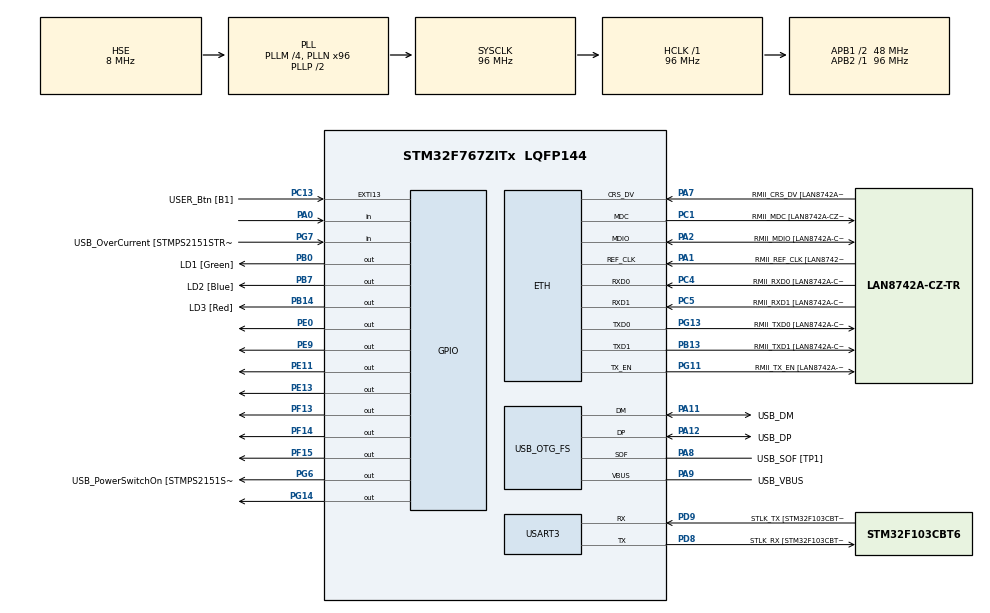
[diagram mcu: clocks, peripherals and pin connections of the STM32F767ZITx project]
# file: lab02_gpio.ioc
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ETH.MediaInterface=HAL_ETH_RMII_MODE
ETH.PHY_Name=LAN8742A_PHY_ADDRESS
ETH.PHY_Value=0
ETH.PhyAddress=0
Mcu.Family=STM32F7
Mcu.Name=STM32F767ZITx
Mcu.Package=LQFP144
NVIC.PriorityGroup=NVIC_PRIORITYGROUP_4
PA0/WKUP.Signal=GPIO_Input
PA1.GPIO_Label=RMII_REF_CLK [LAN8742A-CZ-TR_REFCLK0]
PA1.Mode=RMII
PA1.Signal=ETH_REF_CLK
PA10.GPIO_Label=USB_ID
PA10.Signal=USB_OTG_FS_ID
PA11.GPIO_Label=USB_DM
PA11.Mode=Device_Only
PA11.Signal=USB_OTG_FS_DM
PA12.GPIO_Label=USB_DP
PA12.Mode=Device_Only
PA12.Signal=USB_OTG_FS_DP
PA13.GPIO_Label=TMS
PA13.Mode=Serial_Wire
PA13.Signal=SYS_JTMS-SWDIO
PA14.GPIO_Label=TCK
PA14.Mode=Serial_Wire
PA14.Signal=SYS_JTCK-SWCLK
PA2.GPIO_Label=RMII_MDIO [LAN8742A-CZ-TR_MDIO]
PA2.Mode=RMII
PA2.Signal=ETH_MDIO
PA7.GPIO_Label=RMII_CRS_DV [LAN8742A-CZ-TR_CRS_DV]
PA7.Mode=RMII
PA7.Signal=ETH_CRS_DV
PA8.GPIO_Label=USB_SOF [TP1]
PA8.Mode=Activate_SOF_FS
PA8.Signal=USB_OTG_FS_SOF
PA9.GPIO_Label=USB_VBUS
PA9.Mode=Activate_VBUS
PA9.Signal=USB_OTG_FS_VBUS
PB0.GPIO_Label=LD1 [Green]
PB0.Signal=GPIO_Output
PB13.GPIO_Label=RMII_TXD1 [LAN8742A-CZ-TR_TXD1]
PB13.Mode=RMII
PB13.Signal=ETH_TXD1
PB14.GPIO_Label=LD3 [Red]
PB14.Signal=GPIO_Output
PB3.GPIO_Label=SWO
PB3.Signal=SYS_JTDO-SWO
PB7.GPIO_Label=LD2 [Blue]
PB7.Signal=GPIO_Output
PC1.GPIO_Label=RMII_MDC [LAN8742A-CZ-TR_MDC]
PC1.Mode=RMII
PC1.Signal=ETH_MDC
PC13.GPIO_Label=USER_Btn [B1]
PC13.Signal=GPXTI13
PC14/OSC32_IN.Mode=LSE-External-Oscillator
PC14/OSC32_IN.Signal=RCC_OSC32_IN
PC15/OSC32_OUT.Mode=LSE-External-Oscillator
PC15/OSC32_OUT.Signal=RCC_OSC32_OUT
PC4.GPIO_Label=RMII_RXD0 [LAN8742A-CZ-TR_RXD0]
PC4.Mode=RMII
PC4.Signal=ETH_RXD0
PC5.GPIO_Label=RMII_RXD1 [LAN8742A-CZ-TR_RXD1]
PC5.Mode=RMII
PC5.Signal=ETH_RXD1
PD8.GPIO_Label=STLK_RX [STM32F103CBT6_PA3]
PD8.Mode=Asynchronous
PD8.Signal=USART3_TX
PD9.GPIO_Label=STLK_TX [STM32F103CBT6_PA2]
PD9.Mode=Asynchronous
PD9.Signal=USART3_RX
PE0.Signal=GPIO_Output
PE11.Signal=GPIO_Output
PE13.Signal=GPIO_Output
PE9.Signal=GPIO_Output
PF13.Signal=GPIO_Output
PF14.Signal=GPIO_Output
PF15.Signal=GPIO_Output
PG11.GPIO_Label=RMII_TX_EN [LAN8742A-CZ-TR_TXEN]
PG11.Mode=RMII
PG11.Signal=ETH_TX_EN
PG13.GPIO_Label=RMII_TXD0 [LAN8742A-CZ-TR_TXD0]
PG13.Mode=RMII
PG13.Signal=ETH_TXD0
PG14.Signal=GPIO_Output
PG6.GPIO_Label=USB_PowerSwitchOn [STMPS2151STR_EN]
PG6.Signal=GPIO_Output
PG7.GPIO_Label=USB_OverCurrent [STMPS2151STR_FAULT]
PG7.Signal=GPIO_Input
PH0/OSC_IN.GPIO_Label=MCO [STM32F103CBT6_PA8]
PH0/OSC_IN.Mode=HSE-External-Clock-Source
PH0/OSC_IN.Signal=RCC_OSC_IN
PH1/OSC_OUT.Mode=HSE-External-Clock-Source
PH1/OSC_OUT.Signal=RCC_OSC_OUT
ProjectManager.HeapSize=0x200
ProjectManager.StackSize=0x400
ProjectManager.TargetToolchain=STM32CubeIDE
RCC.48MHZClocksFreq_Value=24000000
RCC.AHBFreq_Value=96000000
RCC.APB1CLKDivider=RCC_HCLK_DIV2
RCC.APB1Freq_Value=48000000
RCC.APB1TimFreq_Value=96000000
RCC.APB2Freq_Value=96000000
RCC.APB2TimFreq_Value=96000000
RCC.CortexFreq_Value=96000000
RCC.HCLKFreq_Value=96000000
RCC.HSE_VALUE=8000000
RCC.HSI_VALUE=16000000
RCC.PLLM=4
RCC.PLLMUL=RCC_PLL_MUL9
RCC.PLLN=96
RCC.PLLQ=4
RCC.PRESCALERUSB=RCC_USBCLKSOURCE_PLL_DIV1_5
RCC.SYSCLKFreq_VALUE=96000000
RCC.SYSCLKSource=RCC_SYSCLKSOURCE_PLLCLK
RCC.SYSCLKSourceVirtual=RCC_SYSCLKSOURCE_PLLCLK
RCC.USBFreq_Value=48000000
RCC.VCOOutputFreq_Value=192000000
USART3.VirtualMode-Asynchronous=VM_ASYNC
USB_OTG_FS.VirtualMode=Device_Only
board=NUCLEO-F767ZI

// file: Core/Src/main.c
/* USER CODE BEGIN Header */
/**
 ******************************************************************************
 * @file           : main.c
 * @brief          : Main program body
 ******************************************************************************
 * @attention
 *
 * Copyright (c) 2023 STMicroelectronics.
 * All rights reserved.
 *
 * This software is licensed under terms that can be found in the LICENSE file
 * in the root directory of this software component.
 * If no LICENSE file comes with this software, it is provided AS-IS.
 *
 ******************************************************************************
 */
/* USER CODE END Header */
#include "main.h"
#include "string.h"

#if defined ( __ICCARM__ ) /*!< IAR Compiler */
#pragma location=0x2007c000
ETH_DMADescTypeDef  DMARxDscrTab[ETH_RX_DESC_CNT]; /* Ethernet Rx DMA Descriptors */
#pragma location=0x2007c0a0
ETH_DMADescTypeDef  DMATxDscrTab[ETH_TX_DESC_CNT]; /* Ethernet Tx DMA Descriptors */

#elif defined ( __CC_ARM )  /* MDK ARM Compiler */

__attribute__((at(0x2007c000))) ETH_DMADescTypeDef  DMARxDscrTab[ETH_RX_DESC_CNT]; /* Ethernet Rx DMA Descriptors */
__attribute__((at(0x2007c0a0))) ETH_DMADescTypeDef  DMATxDscrTab[ETH_TX_DESC_CNT]; /* Ethernet Tx DMA Descriptors */

#elif defined ( __GNUC__ ) /* GNU Compiler */
ETH_DMADescTypeDef DMARxDscrTab[ETH_RX_DESC_CNT] __attribute__((section(".RxDecripSection"))); /* Ethernet Rx DMA Descriptors */
ETH_DMADescTypeDef DMATxDscrTab[ETH_TX_DESC_CNT] __attribute__((section(".TxDecripSection"))); /* Ethernet Tx DMA Descriptors */

#endif

ETH_TxPacketConfig TxConfig;

ETH_HandleTypeDef heth;

UART_HandleTypeDef huart3;

PCD_HandleTypeDef hpcd_USB_OTG_FS;

/* USER CODE BEGIN PV */
int count = 0;
/* USER CODE END PV */

void SystemClock_Config(void);
static void MX_GPIO_Init(void);
static void MX_ETH_Init(void);
static void MX_USART3_UART_Init(void);
static void MX_USB_OTG_FS_PCD_Init(void);

int main(void) {

	/* MCU Configuration--------------------------------------------------------*/

	/* Reset of all peripherals, Initializes the Flash interface and the Systick. */
	HAL_Init();

	/* Configure the system clock */
	SystemClock_Config();

	/* Initialize all configured peripherals */
	MX_GPIO_Init();
	MX_ETH_Init();
	MX_USART3_UART_Init();
	MX_USB_OTG_FS_PCD_Init();

	/* Infinite loop */
	while (1) {

		/* USER CODE BEGIN 3 */
//	  if (HAL_GPIO_ReadPin(GPIOC, GPIO_PIN_13) == GPIO_PIN_SET){
//		  HAL_GPIO_WritePin(GPIOB, GPIO_PIN_0, GPIO_PIN_SET);
//		  HAL_Delay(1000);
//		  HAL_GPIO_WritePin(GPIOB, GPIO_PIN_0, GPIO_PIN_RESET);
//	  }
//	  if (HAL_GPIO_ReadPin(GPIOA, GPIO_PIN_0) == GPIO_PIN_RESET){
//		  HAL_GPIO_WritePin(GPIOE, GPIO_PIN_0, GPIO_PIN_SET);
//		  HAL_Delay(1000);
//		  HAL_GPIO_WritePin(GPIOE, GPIO_PIN_0, GPIO_PIN_RESET);
//	  }
		if (HAL_GPIO_ReadPin(GPIOC, GPIO_PIN_13) == GPIO_PIN_SET) {
			HAL_Delay(500);
			HAL_GPIO_WritePin(GPIOF, GPIO_PIN_13, GPIO_PIN_RESET);
			HAL_GPIO_WritePin(GPIOE, GPIO_PIN_0, GPIO_PIN_RESET);
			HAL_GPIO_WritePin(GPIOG, GPIO_PIN_14, GPIO_PIN_RESET);
			HAL_GPIO_WritePin(GPIOF, GPIO_PIN_15, GPIO_PIN_RESET);
			HAL_GPIO_WritePin(GPIOE, GPIO_PIN_13, GPIO_PIN_RESET);
			HAL_GPIO_WritePin(GPIOF, GPIO_PIN_14, GPIO_PIN_RESET);
			HAL_GPIO_WritePin(GPIOE, GPIO_PIN_11, GPIO_PIN_RESET);
			HAL_GPIO_WritePin(GPIOE, GPIO_PIN_9, GPIO_PIN_RESET);
			count++;
			if (count == 8) {
				count = 0;
			}
		}
		if (count == 0) {
			HAL_GPIO_WritePin(GPIOE, GPIO_PIN_0, GPIO_PIN_SET);
		} else if (count == 1) {
			HAL_GPIO_WritePin(GPIOG, GPIO_PIN_14, GPIO_PIN_SET);
		} else if (count == 2) {
			HAL_GPIO_WritePin(GPIOF, GPIO_PIN_15, GPIO_PIN_SET);
		} else if (count == 3) {
			HAL_GPIO_WritePin(GPIOE, GPIO_PIN_13, GPIO_PIN_SET);
		} else if (count == 4) {
			HAL_GPIO_WritePin(GPIOF, GPIO_PIN_14, GPIO_PIN_SET);
		} else if (count == 5) {
			HAL_GPIO_WritePin(GPIOE, GPIO_PIN_11, GPIO_PIN_SET);
		} else if (count == 6) {
			HAL_GPIO_WritePin(GPIOE, GPIO_PIN_9, GPIO_PIN_SET);
		} else if (count == 7) {
			HAL_GPIO_WritePin(GPIOF, GPIO_PIN_13, GPIO_PIN_SET);
		}
		if (HAL_GPIO_ReadPin(GPIOA, GPIO_PIN_0) == GPIO_PIN_RESET) {
			HAL_GPIO_WritePin(GPIOE, GPIO_PIN_0, GPIO_PIN_SET);
			HAL_Delay(500);
			HAL_GPIO_WritePin(GPIOE, GPIO_PIN_0, GPIO_PIN_RESET);
			HAL_GPIO_WritePin(GPIOG, GPIO_PIN_14, GPIO_PIN_SET);
			HAL_Delay(500);
			HAL_GPIO_WritePin(GPIOG, GPIO_PIN_14, GPIO_PIN_RESET);
			HAL_GPIO_WritePin(GPIOF, GPIO_PIN_15, GPIO_PIN_SET);
			HAL_Delay(500);
			HAL_GPIO_WritePin(GPIOF, GPIO_PIN_15, GPIO_PIN_RESET);
			HAL_GPIO_WritePin(GPIOE, GPIO_PIN_13, GPIO_PIN_SET);
			HAL_Delay(500);
			HAL_GPIO_WritePin(GPIOE, GPIO_PIN_13, GPIO_PIN_RESET);
			HAL_GPIO_WritePin(GPIOF, GPIO_PIN_14, GPIO_PIN_SET);
			HAL_Delay(500);
			HAL_GPIO_WritePin(GPIOF, GPIO_PIN_14, GPIO_PIN_RESET);
			HAL_GPIO_WritePin(GPIOE, GPIO_PIN_11, GPIO_PIN_SET);
			HAL_Delay(500);
			HAL_GPIO_WritePin(GPIOE, GPIO_PIN_11, GPIO_PIN_RESET);
			HAL_GPIO_WritePin(GPIOE, GPIO_PIN_9, GPIO_PIN_SET);
			HAL_Delay(500);
			HAL_GPIO_WritePin(GPIOE, GPIO_PIN_9, GPIO_PIN_RESET);
			HAL_GPIO_WritePin(GPIOF, GPIO_PIN_13, GPIO_PIN_SET);
			HAL_Delay(500);
			HAL_GPIO_WritePin(GPIOF, GPIO_PIN_13, GPIO_PIN_RESET);
		}
	}
	/* USER CODE END 3 */
}

void SystemClock_Config(void) {
	RCC_OscInitTypeDef RCC_OscInitStruct = { 0 };
	RCC_ClkInitTypeDef RCC_ClkInitStruct = { 0 };

	/** Configure LSE Drive Capability
	 */
	HAL_PWR_EnableBkUpAccess();

	/** Configure the main internal regulator output voltage
	 */
	__HAL_RCC_PWR_CLK_ENABLE();
	__HAL_PWR_VOLTAGESCALING_CONFIG(PWR_REGULATOR_VOLTAGE_SCALE3);

	/** Initializes the RCC Oscillators according to the specified parameters
	 * in the RCC_OscInitTypeDef structure.
	 */
	RCC_OscInitStruct.OscillatorType = RCC_OSCILLATORTYPE_HSE;
	RCC_OscInitStruct.HSEState = RCC_HSE_BYPASS;
	RCC_OscInitStruct.PLL.PLLState = RCC_PLL_ON;
	RCC_OscInitStruct.PLL.PLLSource = RCC_PLLSOURCE_HSE;
	RCC_OscInitStruct.PLL.PLLM = 4;
	RCC_OscInitStruct.PLL.PLLN = 96;
	RCC_OscInitStruct.PLL.PLLP = RCC_PLLP_DIV2;
	RCC_OscInitStruct.PLL.PLLQ = 4;
	RCC_OscInitStruct.PLL.PLLR = 2;
	if (HAL_RCC_OscConfig(&RCC_OscInitStruct) != HAL_OK) {
		Error_Handler();
	}

	/** Activate the Over-Drive mode
	 */
	if (HAL_PWREx_EnableOverDrive() != HAL_OK) {
		Error_Handler();
	}

	/** Initializes the CPU, AHB and APB buses clocks
	 */
	RCC_ClkInitStruct.ClockType = RCC_CLOCKTYPE_HCLK | RCC_CLOCKTYPE_SYSCLK
			| RCC_CLOCKTYPE_PCLK1 | RCC_CLOCKTYPE_PCLK2;
	RCC_ClkInitStruct.SYSCLKSource = RCC_SYSCLKSOURCE_PLLCLK;
	RCC_ClkInitStruct.AHBCLKDivider = RCC_SYSCLK_DIV1;
	RCC_ClkInitStruct.APB1CLKDivider = RCC_HCLK_DIV2;
	RCC_ClkInitStruct.APB2CLKDivider = RCC_HCLK_DIV1;

	if (HAL_RCC_ClockConfig(&RCC_ClkInitStruct, FLASH_LATENCY_3) != HAL_OK) {
		Error_Handler();
	}
}

static void MX_ETH_Init(void) {

	static uint8_t MACAddr[6];

	heth.Instance = ETH;
	MACAddr[0] = 0x00;
	MACAddr[1] = 0x80;
	MACAddr[2] = 0xE1;
	MACAddr[3] = 0x00;
	MACAddr[4] = 0x00;
	MACAddr[5] = 0x00;
	heth.Init.MACAddr = &MACAddr[0];
	heth.Init.MediaInterface = HAL_ETH_RMII_MODE;
	heth.Init.TxDesc = DMATxDscrTab;
	heth.Init.RxDesc = DMARxDscrTab;
	heth.Init.RxBuffLen = 1524;

	if (HAL_ETH_Init(&heth) != HAL_OK) {
		Error_Handler();
	}

	memset(&TxConfig, 0, sizeof(ETH_TxPacketConfig));
	TxConfig.Attributes = ETH_TX_PACKETS_FEATURES_CSUM
			| ETH_TX_PACKETS_FEATURES_CRCPAD;
	TxConfig.ChecksumCtrl = ETH_CHECKSUM_IPHDR_PAYLOAD_INSERT_PHDR_CALC;
	TxConfig.CRCPadCtrl = ETH_CRC_PAD_INSERT;

}

static void MX_USART3_UART_Init(void) {

	huart3.Instance = USART3;
	huart3.Init.BaudRate = 115200;
	huart3.Init.WordLength = UART_WORDLENGTH_8B;
	huart3.Init.StopBits = UART_STOPBITS_1;
	huart3.Init.Parity = UART_PARITY_NONE;
	huart3.Init.Mode = UART_MODE_TX_RX;
	huart3.Init.HwFlowCtl = UART_HWCONTROL_NONE;
	huart3.Init.OverSampling = UART_OVERSAMPLING_16;
	huart3.Init.OneBitSampling = UART_ONE_BIT_SAMPLE_DISABLE;
	huart3.AdvancedInit.AdvFeatureInit = UART_ADVFEATURE_NO_INIT;
	if (HAL_UART_Init(&huart3) != HAL_OK) {
		Error_Handler();
	}

}

static void MX_USB_OTG_FS_PCD_Init(void) {

	hpcd_USB_OTG_FS.Instance = USB_OTG_FS;
	hpcd_USB_OTG_FS.Init.dev_endpoints = 6;
	hpcd_USB_OTG_FS.Init.speed = PCD_SPEED_FULL;
	hpcd_USB_OTG_FS.Init.dma_enable = DISABLE;
	hpcd_USB_OTG_FS.Init.phy_itface = PCD_PHY_EMBEDDED;
	hpcd_USB_OTG_FS.Init.Sof_enable = ENABLE;
	hpcd_USB_OTG_FS.Init.low_power_enable = DISABLE;
	hpcd_USB_OTG_FS.Init.lpm_enable = DISABLE;
	hpcd_USB_OTG_FS.Init.vbus_sensing_enable = ENABLE;
	hpcd_USB_OTG_FS.Init.use_dedicated_ep1 = DISABLE;
	if (HAL_PCD_Init(&hpcd_USB_OTG_FS) != HAL_OK) {
		Error_Handler();
	}

}

static void MX_GPIO_Init(void) {
	GPIO_InitTypeDef GPIO_InitStruct = { 0 };

	/* GPIO Ports Clock Enable */
	__HAL_RCC_GPIOC_CLK_ENABLE();
	__HAL_RCC_GPIOH_CLK_ENABLE();
	__HAL_RCC_GPIOA_CLK_ENABLE();
	__HAL_RCC_GPIOB_CLK_ENABLE();
	__HAL_RCC_GPIOF_CLK_ENABLE();
	__HAL_RCC_GPIOE_CLK_ENABLE();
	__HAL_RCC_GPIOD_CLK_ENABLE();
	__HAL_RCC_GPIOG_CLK_ENABLE();

	/*Configure GPIO pin Output Level */
	HAL_GPIO_WritePin(GPIOB, LD1_Pin | LD3_Pin | LD2_Pin, GPIO_PIN_RESET);

	/*Configure GPIO pin Output Level */
	HAL_GPIO_WritePin(GPIOF, GPIO_PIN_13 | GPIO_PIN_14 | GPIO_PIN_15,
			GPIO_PIN_RESET);

	/*Configure GPIO pin Output Level */
	HAL_GPIO_WritePin(GPIOE,
	GPIO_PIN_9 | GPIO_PIN_11 | GPIO_PIN_13 | GPIO_PIN_0, GPIO_PIN_RESET);

	/*Configure GPIO pin Output Level */
	HAL_GPIO_WritePin(GPIOG, USB_PowerSwitchOn_Pin | GPIO_PIN_14,
			GPIO_PIN_RESET);

	/*Configure GPIO pin : USER_Btn_Pin */
	GPIO_InitStruct.Pin = USER_Btn_Pin;
	GPIO_InitStruct.Mode = GPIO_MODE_IT_RISING;
	GPIO_InitStruct.Pull = GPIO_NOPULL;
	HAL_GPIO_Init(USER_Btn_GPIO_Port, &GPIO_InitStruct);

	/*Configure GPIO pin : PA0 */
	GPIO_InitStruct.Pin = GPIO_PIN_0;
	GPIO_InitStruct.Mode = GPIO_MODE_INPUT;
	GPIO_InitStruct.Pull = GPIO_NOPULL;
	HAL_GPIO_Init(GPIOA, &GPIO_InitStruct);

	/*Configure GPIO pins : LD1_Pin LD3_Pin LD2_Pin */
	GPIO_InitStruct.Pin = LD1_Pin | LD3_Pin | LD2_Pin;
	GPIO_InitStruct.Mode = GPIO_MODE_OUTPUT_PP;
	GPIO_InitStruct.Pull = GPIO_NOPULL;
	GPIO_InitStruct.Speed = GPIO_SPEED_FREQ_LOW;
	HAL_GPIO_Init(GPIOB, &GPIO_InitStruct);

	/*Configure GPIO pins : PF13 PF14 PF15 */
	GPIO_InitStruct.Pin = GPIO_PIN_13 | GPIO_PIN_14 | GPIO_PIN_15;
	GPIO_InitStruct.Mode = GPIO_MODE_OUTPUT_PP;
	GPIO_InitStruct.Pull = GPIO_NOPULL;
	GPIO_InitStruct.Speed = GPIO_SPEED_FREQ_LOW;
	HAL_GPIO_Init(GPIOF, &GPIO_InitStruct);

	/*Configure GPIO pins : PE9 PE11 PE13 PE0 */
	GPIO_InitStruct.Pin = GPIO_PIN_9 | GPIO_PIN_11 | GPIO_PIN_13 | GPIO_PIN_0;
	GPIO_InitStruct.Mode = GPIO_MODE_OUTPUT_PP;
	GPIO_InitStruct.Pull = GPIO_NOPULL;
	GPIO_InitStruct.Speed = GPIO_SPEED_FREQ_LOW;
	HAL_GPIO_Init(GPIOE, &GPIO_InitStruct);

	/*Configure GPIO pins : USB_PowerSwitchOn_Pin PG14 */
	GPIO_InitStruct.Pin = USB_PowerSwitchOn_Pin | GPIO_PIN_14;
	GPIO_InitStruct.Mode = GPIO_MODE_OUTPUT_PP;
	GPIO_InitStruct.Pull = GPIO_NOPULL;
	GPIO_InitStruct.Speed = GPIO_SPEED_FREQ_LOW;
	HAL_GPIO_Init(GPIOG, &GPIO_InitStruct);

	/*Configure GPIO pin : USB_OverCurrent_Pin */
	GPIO_InitStruct.Pin = USB_OverCurrent_Pin;
	GPIO_InitStruct.Mode = GPIO_MODE_INPUT;
	GPIO_InitStruct.Pull = GPIO_NOPULL;
	HAL_GPIO_Init(USB_OverCurrent_GPIO_Port, &GPIO_InitStruct);

}

void Error_Handler(void) {
	__disable_irq();
	while (1) {
	}
}
